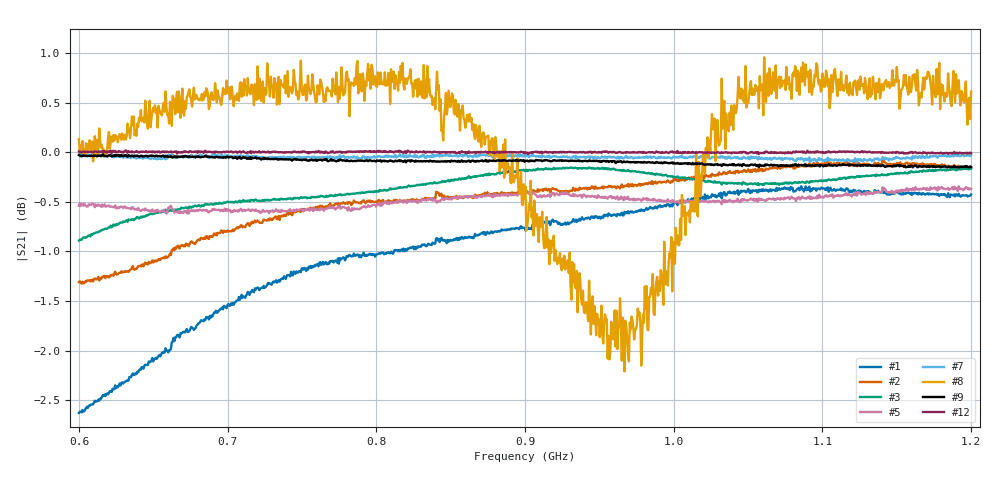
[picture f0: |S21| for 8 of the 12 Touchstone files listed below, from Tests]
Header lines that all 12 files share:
# HZ S RI R 50
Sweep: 600 MHz to 1.2 GHz
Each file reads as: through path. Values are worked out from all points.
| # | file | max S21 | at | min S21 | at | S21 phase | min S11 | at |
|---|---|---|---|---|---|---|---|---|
| 1 | DUT-L-12nH-4.3pF-600MHz-1.2GHz-2x10dB-Attenuator.s2p | -0.34 dB | 1.086 GHz | -2.6 dB | 600 MHz | 48 deg at 900.3 MHz | -18.5 dB | 1.199 GHz |
| 2 | DUT-L-16nH-5.3pF-600MHz-1.2GHz-2x10dB-Attenuator.s2p | -0.05 dB | 1.141 GHz | -1.3 dB | 601.8 MHz | 37 deg at 900.3 MHz | -18.8 dB | 1.2 GHz |
| 3 | DUT-L-16nH-5.3pF-600MHz-1.2GHz.s2p | -0.15 dB | 943.1 MHz | -0.9 dB | 600 MHz | 34 deg at 900.3 MHz | -19.1 dB | 1.2 GHz |
| 4 | DUT-L-Merged-16nH-5.3pF-600MHz-1.2GHz.s2p | -0.15 dB | 943.1 MHz | -0.9 dB | 600 MHz | 34 deg at 900.3 MHz | -19.1 dB | 1.2 GHz |
| 5 | DUT-L-Reversed-16nH-5.3pF-600MHz-1.2GHz-2x10dB-Attenuator.s2p | -0.34 dB | 1.192 GHz | -0.6 dB | 673.7 MHz | 33 deg at 900.3 MHz | -16.8 dB | 1.194 GHz |
| 6 | DUT-L-Reversed-16nH-5.3pF-600MHz-1.2GHz.s2p | -0.29 dB | 1.047 GHz | -0.9 dB | 601.2 MHz | 33 deg at 900.3 MHz | -14.4 dB | 1.048 GHz |
| 7 | DUT-Single-68pF-600MHz-1.2GHz-2x10dB-Attenuator.s2p | -0.01 dB | 600.6 MHz | -0.1 dB | 1.123 GHz | 2 deg at 900.3 MHz | -32.6 dB | 1.144 GHz |
| 8 | DUT-Single-68pF-600MHz-1.2GHz-40dB-Attenuator.s2p | 0.96 dB | 1.061 GHz | -2.2 dB | 966.9 MHz | 10 deg at 900.3 MHz | -50.9 dB | 1.058 GHz |
| 9 | DUT-Single-68pF-600MHz-1.2GHz.s2p | -0.02 dB | 616.1 MHz | -0.2 dB | 1.192 GHz | 0 deg at 900.3 MHz | -31.2 dB | 1.008 GHz |
| 10 | DUT-Single-Merged-68pF-600MHz-1.2GHz.s2p | -0.02 dB | 616.1 MHz | -0.2 dB | 1.192 GHz | 0 deg at 900.3 MHz | -31.2 dB | 1.008 GHz |
| 11 | DUT-Single-Reversed-68pF-600MHz-1.2GHz.s2p | -0.03 dB | 959.8 MHz | -0.1 dB | 830.7 MHz | 2 deg at 900.3 MHz | -27.2 dB | 1.018 GHz |
| 12 | Through-600MHz-1.2GHz.s2p | 0.02 dB | 631.5 MHz | 0.0 dB | 902.1 MHz | -0 deg at 900.3 MHz | -31.6 dB | 720.1 MHz |
